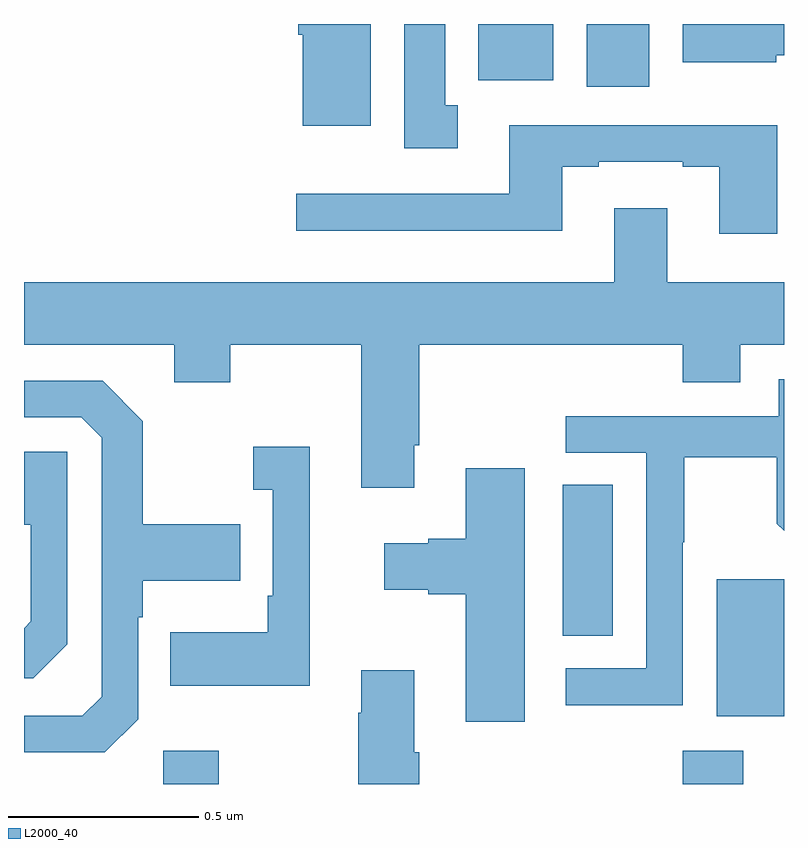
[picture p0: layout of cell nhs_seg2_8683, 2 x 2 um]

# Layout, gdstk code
import gdstk
lib = gdstk.Library(unit=1e-6, precision=1e-09)
def R(c, l, rs):  # rectangles x0, y0, x1, y1
    for r in rs: c.add(gdstk.rectangle(r[:2], r[2:], *l))
def P(c, l, *ps):  # polygons
    for p in ps: c.add(gdstk.Polygon(p, *l))
L2000_40 = (2000, 40)

nhs_seg2_8683 = lib.new_cell('nhs_seg2_8683')
R(nhs_seg2_8683, L2000_40, [(219.366,659.8,219.513,659.887), (220.733,659.8,220.893,659.887), (220.823,659.978,221,660.339), (220.418,660.19,220.549,660.587), (220.481,661.635,220.645,661.8), (220.196,661.652,220.393,661.8)])
P(nhs_seg2_8683, L2000_40, [(220.98,661.718),(221,661.718),(221,661.8),(220.733,661.8),(220.733,661.7),(220.98,661.7)],
  [(220.141,661.586),(220.108,661.586),(220.108,661.8),(220.001,661.8),(220.001,661.473),(220.141,661.473)],
  [(219.913,661.8),(219.722,661.8),(219.722,661.772),(219.734,661.772),(219.734,661.532),(219.913,661.532)],
  [(220.982,661.534),(220.741,661.534),(220.741,661.533),(220.277,661.533),(220.277,661.353),(219.717,661.353),(219.717,661.256),(220.417,661.256),(220.417,661.425),(220.513,661.425),(220.513,661.437),(220.733,661.437),(220.733,661.425),(220.829,661.425),(220.829,661.248),(220.982,661.248)],
  [(220.027,660.691),(220.04,660.691),(220.04,660.956),(220.733,660.956),(220.733,660.857),(220.885,660.857),(220.885,660.956),(221,660.956),(221,661.12),(220.693,661.12),(220.693,661.315),(220.553,661.315),(220.553,661.12),(219,661.12),(219,660.956),(219.395,660.956),(219.395,660.857),(219.543,660.857),(219.543,660.956),(219.887,660.956),(219.887,660.579),(220.027,660.579)],
  [(220.734,660.436),(220.737,660.436),(220.737,660.66),(220.981,660.66),(220.981,660.485),(221,660.466),(221,660.865),(220.986,660.865),(220.986,660.768),(220.425,660.768),(220.425,660.672),(220.638,660.672),(220.638,660.105),(220.425,660.105),(220.425,660.007),(220.734,660.007)],
  [(219.3,659.97),(219.3,660.239),(219.313,660.239),(219.313,660.335),(219.569,660.335),(219.569,660.483),(219.313,660.483),(219.313,660.755),(219.207,660.861),(219,660.861),(219,660.765),(219.15,660.765),(219.204,660.711),(219.204,660.03),(219.153,659.979),(219,659.979),(219,659.883),(219.213,659.883)],
  [(219.752,660.688),(219.603,660.688),(219.603,660.575),(219.654,660.575),(219.654,660.295),(219.642,660.295),(219.642,660.199),(219.385,660.199),(219.385,660.059),(219.752,660.059)],
  [(219.114,660.168),(219.114,660.675),(219,660.675),(219,660.482),(219.018,660.482),(219.018,660.228),(219,660.21),(219,660.078),(219.024,660.078)],
  [(220.318,660.631),(220.163,660.631),(220.163,660.446),(220.064,660.446),(220.064,660.433),(219.948,660.433),(219.948,660.311),(220.064,660.311),(220.064,660.299),(220.163,660.299),(220.163,659.964),(220.318,659.964)],
  [(220.04,659.884),(220.027,659.884),(220.027,660.1),(219.887,660.1),(219.887,659.987),(219.88,659.987),(219.88,659.8),(220.04,659.8)])

lib.write_gds('nhs_seg2_8683.gds')
